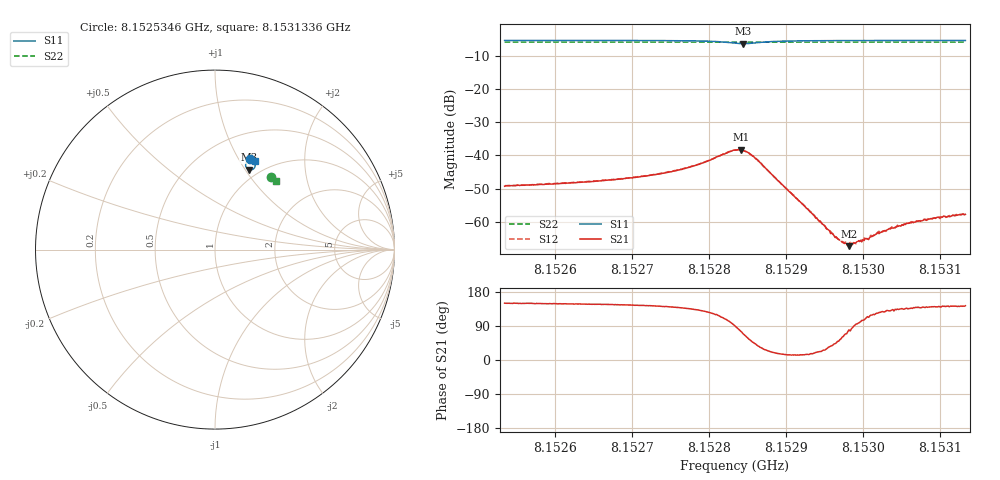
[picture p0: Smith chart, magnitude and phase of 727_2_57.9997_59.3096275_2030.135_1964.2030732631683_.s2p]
#  HZ  S  RI  R  50.00
! Rohde & Schwarz Vector Network Analyzer
! Rohde-Schwarz,ZNB20-2Port,1311601062101988,3.16
! Created: UTC 3/21/2024, 1:22:55 AM
! freq[Hz]  re:S11  im:S11  re:S21  im:S21  re:S12  im:S12  re:S22  im:S22
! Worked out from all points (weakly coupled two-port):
!   401 points, 8.1525346 GHz to 8.1531336 GHz, reference 50 ohm
!   highest |S21| = -38.25 dB at 8.1528416 GHz (marker M1); lowest = -67.4 dB at 8.1529823 GHz (marker M2)
!   lowest |S11| = -6.3 dB at 8.1528446 GHz (marker M3), VSWR 2.87, Z = 44.6 + j51.9 ohm
!   |S11| at or under -10 dB: nowhere
!   |S22| runs from -5.9 to -5.8 dB; largest |S21 - S12| = 0.00037
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8.15253457e9  0.1924 0.5051  -0.00297 0.00172  -0.00298 0.00178  0.3125 0.4044
8.1526349e9  0.2012 0.5015  -0.00334 0.00212  -0.00332 0.00217  0.3175 0.4004
8.15268881e9  0.2066 0.4985  -0.00367 0.00252  -0.00367 0.00261  0.3203 0.398
8.15273524e9  0.2127 0.4946  -0.00414 0.00322  -0.00416 0.00332  0.3226 0.396
8.15278465e9  0.2213 0.4842  -0.00486 0.00531  -0.0048 0.00543  0.325 0.3936
8.15283407e9  0.2074 0.446  9.05e-06 0.012  0.000375 0.0121  0.3261 0.3904
8.15284156e9  0.1935 0.4445  0.003 0.0119  0.00314 0.0116  0.326 0.3903
8.15284455e9  0.1878 0.4459  0.0042 0.0111  0.00434 0.011  0.3259 0.3904
8.15285204e9  0.1764 0.4545  0.00626 0.00894  0.00631 0.00868  0.3258 0.3905
8.15286252e9  0.1707 0.4705  0.00673 0.00549  0.00686 0.0054  0.3265 0.3907
8.15293441e9  0.1968 0.4983  0.00127 0.00037  0.00129 0.000386  0.3311 0.3885
8.15296735e9  0.2032 0.4983  0.000365 0.000421  0.000361 0.000419  0.333 0.3869
8.15297634e9  0.2045 0.4981  0.000189 0.00043  0.000217 0.000433  0.3335 0.3865
8.15298233e9  0.2054 0.4979  7.67e-05 0.000421  0.00012 0.000447  0.3338 0.3864
8.15298981e9  0.2066 0.4978  -1.3e-05 0.000475  -1.96e-05 0.000474  0.334 0.386
8.15300479e9  0.2085 0.4973  -0.000203 0.00052  -0.000215 0.00051  0.3349 0.3855
8.15301827e9  0.21 0.4969  -0.000363 0.00055  -0.00035 0.000569  0.3354 0.3847
8.15303474e9  0.2118 0.4966  -0.000499 0.000603  -0.000499 0.000614  0.3362 0.384
8.1530602e9  0.2144 0.4957  -0.000678 0.000667  -0.000694 0.000661  0.3375 0.3829
8.15307967e9  0.2163 0.4952  -0.00081 0.000695  -0.000819 0.000719  0.3384 0.382
8.15310363e9  0.2184 0.4946  -0.000927 0.000714  -0.00092 0.000743  0.3396 0.3811
8.15313358e9  0.2209 0.4936  -0.00103 0.000772  -0.00103 0.0008  0.3409 0.3796
